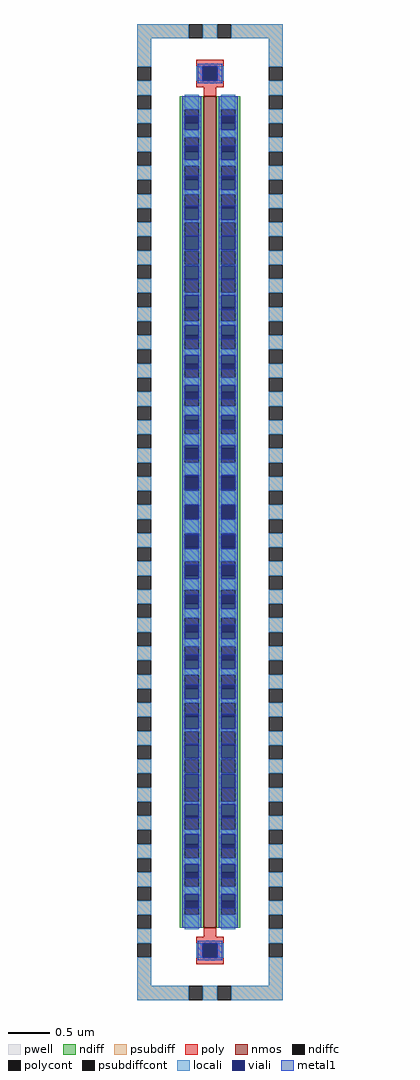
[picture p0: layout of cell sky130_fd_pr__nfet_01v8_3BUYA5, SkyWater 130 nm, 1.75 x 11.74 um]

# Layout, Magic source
magic
tech sky130A
magscale 1 2
<< pwell >>
rect -175 1140 175 1174
rect -175 -1140 -141 1140
rect 141 -1140 175 1140
rect -175 -1174 175 -1140
<< nmos >>
rect -15 -1000 15 1000
<< ndiff >>
rect -73 969 -15 1000
rect -73 935 -61 969
rect -27 935 -15 969
rect -73 901 -15 935
rect -73 867 -61 901
rect -27 867 -15 901
rect -73 833 -15 867
rect -73 799 -61 833
rect -27 799 -15 833
rect -73 765 -15 799
rect -73 731 -61 765
rect -27 731 -15 765
rect -73 697 -15 731
rect -73 663 -61 697
rect -27 663 -15 697
rect -73 629 -15 663
rect -73 595 -61 629
rect -27 595 -15 629
rect -73 561 -15 595
rect -73 527 -61 561
rect -27 527 -15 561
rect -73 493 -15 527
rect -73 459 -61 493
rect -27 459 -15 493
rect -73 425 -15 459
rect -73 391 -61 425
rect -27 391 -15 425
rect -73 357 -15 391
rect -73 323 -61 357
rect -27 323 -15 357
rect -73 289 -15 323
rect -73 255 -61 289
rect -27 255 -15 289
rect -73 221 -15 255
rect -73 187 -61 221
rect -27 187 -15 221
rect -73 153 -15 187
rect -73 119 -61 153
rect -27 119 -15 153
rect -73 85 -15 119
rect -73 51 -61 85
rect -27 51 -15 85
rect -73 17 -15 51
rect -73 -17 -61 17
rect -27 -17 -15 17
rect -73 -51 -15 -17
rect -73 -85 -61 -51
rect -27 -85 -15 -51
rect -73 -119 -15 -85
rect -73 -153 -61 -119
rect -27 -153 -15 -119
rect -73 -187 -15 -153
rect -73 -221 -61 -187
rect -27 -221 -15 -187
rect -73 -255 -15 -221
rect -73 -289 -61 -255
rect -27 -289 -15 -255
rect -73 -323 -15 -289
rect -73 -357 -61 -323
rect -27 -357 -15 -323
rect -73 -391 -15 -357
rect -73 -425 -61 -391
rect -27 -425 -15 -391
rect -73 -459 -15 -425
rect -73 -493 -61 -459
rect -27 -493 -15 -459
rect -73 -527 -15 -493
rect -73 -561 -61 -527
rect -27 -561 -15 -527
rect -73 -595 -15 -561
rect -73 -629 -61 -595
rect -27 -629 -15 -595
rect -73 -663 -15 -629
rect -73 -697 -61 -663
rect -27 -697 -15 -663
rect -73 -731 -15 -697
rect -73 -765 -61 -731
rect -27 -765 -15 -731
rect -73 -799 -15 -765
rect -73 -833 -61 -799
rect -27 -833 -15 -799
rect -73 -867 -15 -833
rect -73 -901 -61 -867
rect -27 -901 -15 -867
rect -73 -935 -15 -901
rect -73 -969 -61 -935
rect -27 -969 -15 -935
rect -73 -1000 -15 -969
rect 15 969 73 1000
rect 15 935 27 969
rect 61 935 73 969
rect 15 901 73 935
rect 15 867 27 901
rect 61 867 73 901
rect 15 833 73 867
rect 15 799 27 833
rect 61 799 73 833
rect 15 765 73 799
rect 15 731 27 765
rect 61 731 73 765
rect 15 697 73 731
rect 15 663 27 697
rect 61 663 73 697
rect 15 629 73 663
rect 15 595 27 629
rect 61 595 73 629
rect 15 561 73 595
rect 15 527 27 561
rect 61 527 73 561
rect 15 493 73 527
rect 15 459 27 493
rect 61 459 73 493
rect 15 425 73 459
rect 15 391 27 425
rect 61 391 73 425
rect 15 357 73 391
rect 15 323 27 357
rect 61 323 73 357
rect 15 289 73 323
rect 15 255 27 289
rect 61 255 73 289
rect 15 221 73 255
rect 15 187 27 221
rect 61 187 73 221
rect 15 153 73 187
rect 15 119 27 153
rect 61 119 73 153
rect 15 85 73 119
rect 15 51 27 85
rect 61 51 73 85
rect 15 17 73 51
rect 15 -17 27 17
rect 61 -17 73 17
rect 15 -51 73 -17
rect 15 -85 27 -51
rect 61 -85 73 -51
rect 15 -119 73 -85
rect 15 -153 27 -119
rect 61 -153 73 -119
rect 15 -187 73 -153
rect 15 -221 27 -187
rect 61 -221 73 -187
rect 15 -255 73 -221
rect 15 -289 27 -255
rect 61 -289 73 -255
rect 15 -323 73 -289
rect 15 -357 27 -323
rect 61 -357 73 -323
rect 15 -391 73 -357
rect 15 -425 27 -391
rect 61 -425 73 -391
rect 15 -459 73 -425
rect 15 -493 27 -459
rect 61 -493 73 -459
rect 15 -527 73 -493
rect 15 -561 27 -527
rect 61 -561 73 -527
rect 15 -595 73 -561
rect 15 -629 27 -595
rect 61 -629 73 -595
rect 15 -663 73 -629
rect 15 -697 27 -663
rect 61 -697 73 -663
rect 15 -731 73 -697
rect 15 -765 27 -731
rect 61 -765 73 -731
rect 15 -799 73 -765
rect 15 -833 27 -799
rect 61 -833 73 -799
rect 15 -867 73 -833
rect 15 -901 27 -867
rect 61 -901 73 -867
rect 15 -935 73 -901
rect 15 -969 27 -935
rect 61 -969 73 -935
rect 15 -1000 73 -969
<< ndiffc >>
rect -61 935 -27 969
rect -61 867 -27 901
rect -61 799 -27 833
rect -61 731 -27 765
rect -61 663 -27 697
rect -61 595 -27 629
rect -61 527 -27 561
rect -61 459 -27 493
rect -61 391 -27 425
rect -61 323 -27 357
rect -61 255 -27 289
rect -61 187 -27 221
rect -61 119 -27 153
rect -61 51 -27 85
rect -61 -17 -27 17
rect -61 -85 -27 -51
rect -61 -153 -27 -119
rect -61 -221 -27 -187
rect -61 -289 -27 -255
rect -61 -357 -27 -323
rect -61 -425 -27 -391
rect -61 -493 -27 -459
rect -61 -561 -27 -527
rect -61 -629 -27 -595
rect -61 -697 -27 -663
rect -61 -765 -27 -731
rect -61 -833 -27 -799
rect -61 -901 -27 -867
rect -61 -969 -27 -935
rect 27 935 61 969
rect 27 867 61 901
rect 27 799 61 833
rect 27 731 61 765
rect 27 663 61 697
rect 27 595 61 629
rect 27 527 61 561
rect 27 459 61 493
rect 27 391 61 425
rect 27 323 61 357
rect 27 255 61 289
rect 27 187 61 221
rect 27 119 61 153
rect 27 51 61 85
rect 27 -17 61 17
rect 27 -85 61 -51
rect 27 -153 61 -119
rect 27 -221 61 -187
rect 27 -289 61 -255
rect 27 -357 61 -323
rect 27 -425 61 -391
rect 27 -493 61 -459
rect 27 -561 61 -527
rect 27 -629 61 -595
rect 27 -697 61 -663
rect 27 -765 61 -731
rect 27 -833 61 -799
rect 27 -901 61 -867
rect 27 -969 61 -935
<< psubdiff >>
rect -175 1140 -51 1174
rect -17 1140 17 1174
rect 51 1140 175 1174
rect -175 1071 -141 1140
rect -175 1003 -141 1037
rect 141 1071 175 1140
rect 141 1003 175 1037
rect -175 935 -141 969
rect -175 867 -141 901
rect -175 799 -141 833
rect -175 731 -141 765
rect -175 663 -141 697
rect -175 595 -141 629
rect -175 527 -141 561
rect -175 459 -141 493
rect -175 391 -141 425
rect -175 323 -141 357
rect -175 255 -141 289
rect -175 187 -141 221
rect -175 119 -141 153
rect -175 51 -141 85
rect -175 -17 -141 17
rect -175 -85 -141 -51
rect -175 -153 -141 -119
rect -175 -221 -141 -187
rect -175 -289 -141 -255
rect -175 -357 -141 -323
rect -175 -425 -141 -391
rect -175 -493 -141 -459
rect -175 -561 -141 -527
rect -175 -629 -141 -595
rect -175 -697 -141 -663
rect -175 -765 -141 -731
rect -175 -833 -141 -799
rect -175 -901 -141 -867
rect -175 -969 -141 -935
rect 141 935 175 969
rect 141 867 175 901
rect 141 799 175 833
rect 141 731 175 765
rect 141 663 175 697
rect 141 595 175 629
rect 141 527 175 561
rect 141 459 175 493
rect 141 391 175 425
rect 141 323 175 357
rect 141 255 175 289
rect 141 187 175 221
rect 141 119 175 153
rect 141 51 175 85
rect 141 -17 175 17
rect 141 -85 175 -51
rect 141 -153 175 -119
rect 141 -221 175 -187
rect 141 -289 175 -255
rect 141 -357 175 -323
rect 141 -425 175 -391
rect 141 -493 175 -459
rect 141 -561 175 -527
rect 141 -629 175 -595
rect 141 -697 175 -663
rect 141 -765 175 -731
rect 141 -833 175 -799
rect 141 -901 175 -867
rect 141 -969 175 -935
rect -175 -1037 -141 -1003
rect -175 -1140 -141 -1071
rect 141 -1037 175 -1003
rect 141 -1140 175 -1071
rect -175 -1174 -51 -1140
rect -17 -1174 17 -1140
rect 51 -1174 175 -1140
<< psubdiffcont >>
rect -51 1140 -17 1174
rect 17 1140 51 1174
rect -175 1037 -141 1071
rect 141 1037 175 1071
rect -175 969 -141 1003
rect -175 901 -141 935
rect -175 833 -141 867
rect -175 765 -141 799
rect -175 697 -141 731
rect -175 629 -141 663
rect -175 561 -141 595
rect -175 493 -141 527
rect -175 425 -141 459
rect -175 357 -141 391
rect -175 289 -141 323
rect -175 221 -141 255
rect -175 153 -141 187
rect -175 85 -141 119
rect -175 17 -141 51
rect -175 -51 -141 -17
rect -175 -119 -141 -85
rect -175 -187 -141 -153
rect -175 -255 -141 -221
rect -175 -323 -141 -289
rect -175 -391 -141 -357
rect -175 -459 -141 -425
rect -175 -527 -141 -493
rect -175 -595 -141 -561
rect -175 -663 -141 -629
rect -175 -731 -141 -697
rect -175 -799 -141 -765
rect -175 -867 -141 -833
rect -175 -935 -141 -901
rect -175 -1003 -141 -969
rect 141 969 175 1003
rect 141 901 175 935
rect 141 833 175 867
rect 141 765 175 799
rect 141 697 175 731
rect 141 629 175 663
rect 141 561 175 595
rect 141 493 175 527
rect 141 425 175 459
rect 141 357 175 391
rect 141 289 175 323
rect 141 221 175 255
rect 141 153 175 187
rect 141 85 175 119
rect 141 17 175 51
rect 141 -51 175 -17
rect 141 -119 175 -85
rect 141 -187 175 -153
rect 141 -255 175 -221
rect 141 -323 175 -289
rect 141 -391 175 -357
rect 141 -459 175 -425
rect 141 -527 175 -493
rect 141 -595 175 -561
rect 141 -663 175 -629
rect 141 -731 175 -697
rect 141 -799 175 -765
rect 141 -867 175 -833
rect 141 -935 175 -901
rect 141 -1003 175 -969
rect -175 -1071 -141 -1037
rect 141 -1071 175 -1037
rect -51 -1174 -17 -1140
rect 17 -1174 51 -1140
<< poly >>
rect -33 1072 33 1088
rect -33 1038 -17 1072
rect 17 1038 33 1072
rect -33 1022 33 1038
rect -15 1000 15 1022
rect -15 -1022 15 -1000
rect -33 -1038 33 -1022
rect -33 -1072 -17 -1038
rect 17 -1072 33 -1038
rect -33 -1088 33 -1072
<< polycont >>
rect -17 1038 17 1072
rect -17 -1072 17 -1038
<< locali >>
rect -175 1140 -51 1174
rect -17 1140 17 1174
rect 51 1140 175 1174
rect -175 1071 -141 1140
rect -33 1038 -17 1072
rect 17 1038 33 1072
rect 141 1071 175 1140
rect -175 1003 -141 1037
rect -175 935 -141 969
rect -175 867 -141 901
rect -175 799 -141 833
rect -175 731 -141 765
rect -175 663 -141 697
rect -175 595 -141 629
rect -175 527 -141 561
rect -175 459 -141 493
rect -175 391 -141 425
rect -175 323 -141 357
rect -175 255 -141 289
rect -175 187 -141 221
rect -175 119 -141 153
rect -175 51 -141 85
rect -175 -17 -141 17
rect -175 -85 -141 -51
rect -175 -153 -141 -119
rect -175 -221 -141 -187
rect -175 -289 -141 -255
rect -175 -357 -141 -323
rect -175 -425 -141 -391
rect -175 -493 -141 -459
rect -175 -561 -141 -527
rect -175 -629 -141 -595
rect -175 -697 -141 -663
rect -175 -765 -141 -731
rect -175 -833 -141 -799
rect -175 -901 -141 -867
rect -175 -969 -141 -935
rect -175 -1037 -141 -1003
rect -61 969 -27 1004
rect -61 901 -27 919
rect -61 833 -27 847
rect -61 765 -27 775
rect -61 697 -27 703
rect -61 629 -27 631
rect -61 593 -27 595
rect -61 521 -27 527
rect -61 449 -27 459
rect -61 377 -27 391
rect -61 305 -27 323
rect -61 233 -27 255
rect -61 161 -27 187
rect -61 89 -27 119
rect -61 17 -27 51
rect -61 -51 -27 -17
rect -61 -119 -27 -89
rect -61 -187 -27 -161
rect -61 -255 -27 -233
rect -61 -323 -27 -305
rect -61 -391 -27 -377
rect -61 -459 -27 -449
rect -61 -527 -27 -521
rect -61 -595 -27 -593
rect -61 -631 -27 -629
rect -61 -703 -27 -697
rect -61 -775 -27 -765
rect -61 -847 -27 -833
rect -61 -919 -27 -901
rect -61 -1004 -27 -969
rect 27 969 61 1004
rect 27 901 61 919
rect 27 833 61 847
rect 27 765 61 775
rect 27 697 61 703
rect 27 629 61 631
rect 27 593 61 595
rect 27 521 61 527
rect 27 449 61 459
rect 27 377 61 391
rect 27 305 61 323
rect 27 233 61 255
rect 27 161 61 187
rect 27 89 61 119
rect 27 17 61 51
rect 27 -51 61 -17
rect 27 -119 61 -89
rect 27 -187 61 -161
rect 27 -255 61 -233
rect 27 -323 61 -305
rect 27 -391 61 -377
rect 27 -459 61 -449
rect 27 -527 61 -521
rect 27 -595 61 -593
rect 27 -631 61 -629
rect 27 -703 61 -697
rect 27 -775 61 -765
rect 27 -847 61 -833
rect 27 -919 61 -901
rect 27 -1004 61 -969
rect 141 1003 175 1037
rect 141 935 175 969
rect 141 867 175 901
rect 141 799 175 833
rect 141 731 175 765
rect 141 663 175 697
rect 141 595 175 629
rect 141 527 175 561
rect 141 459 175 493
rect 141 391 175 425
rect 141 323 175 357
rect 141 255 175 289
rect 141 187 175 221
rect 141 119 175 153
rect 141 51 175 85
rect 141 -17 175 17
rect 141 -85 175 -51
rect 141 -153 175 -119
rect 141 -221 175 -187
rect 141 -289 175 -255
rect 141 -357 175 -323
rect 141 -425 175 -391
rect 141 -493 175 -459
rect 141 -561 175 -527
rect 141 -629 175 -595
rect 141 -697 175 -663
rect 141 -765 175 -731
rect 141 -833 175 -799
rect 141 -901 175 -867
rect 141 -969 175 -935
rect 141 -1037 175 -1003
rect -175 -1140 -141 -1071
rect -33 -1072 -17 -1038
rect 17 -1072 33 -1038
rect 141 -1140 175 -1071
rect -175 -1174 -51 -1140
rect -17 -1174 17 -1140
rect 51 -1174 175 -1140
<< viali >>
rect -17 1038 17 1072
rect -61 935 -27 953
rect -61 919 -27 935
rect -61 867 -27 881
rect -61 847 -27 867
rect -61 799 -27 809
rect -61 775 -27 799
rect -61 731 -27 737
rect -61 703 -27 731
rect -61 663 -27 665
rect -61 631 -27 663
rect -61 561 -27 593
rect -61 559 -27 561
rect -61 493 -27 521
rect -61 487 -27 493
rect -61 425 -27 449
rect -61 415 -27 425
rect -61 357 -27 377
rect -61 343 -27 357
rect -61 289 -27 305
rect -61 271 -27 289
rect -61 221 -27 233
rect -61 199 -27 221
rect -61 153 -27 161
rect -61 127 -27 153
rect -61 85 -27 89
rect -61 55 -27 85
rect -61 -17 -27 17
rect -61 -85 -27 -55
rect -61 -89 -27 -85
rect -61 -153 -27 -127
rect -61 -161 -27 -153
rect -61 -221 -27 -199
rect -61 -233 -27 -221
rect -61 -289 -27 -271
rect -61 -305 -27 -289
rect -61 -357 -27 -343
rect -61 -377 -27 -357
rect -61 -425 -27 -415
rect -61 -449 -27 -425
rect -61 -493 -27 -487
rect -61 -521 -27 -493
rect -61 -561 -27 -559
rect -61 -593 -27 -561
rect -61 -663 -27 -631
rect -61 -665 -27 -663
rect -61 -731 -27 -703
rect -61 -737 -27 -731
rect -61 -799 -27 -775
rect -61 -809 -27 -799
rect -61 -867 -27 -847
rect -61 -881 -27 -867
rect -61 -935 -27 -919
rect -61 -953 -27 -935
rect 27 935 61 953
rect 27 919 61 935
rect 27 867 61 881
rect 27 847 61 867
rect 27 799 61 809
rect 27 775 61 799
rect 27 731 61 737
rect 27 703 61 731
rect 27 663 61 665
rect 27 631 61 663
rect 27 561 61 593
rect 27 559 61 561
rect 27 493 61 521
rect 27 487 61 493
rect 27 425 61 449
rect 27 415 61 425
rect 27 357 61 377
rect 27 343 61 357
rect 27 289 61 305
rect 27 271 61 289
rect 27 221 61 233
rect 27 199 61 221
rect 27 153 61 161
rect 27 127 61 153
rect 27 85 61 89
rect 27 55 61 85
rect 27 -17 61 17
rect 27 -85 61 -55
rect 27 -89 61 -85
rect 27 -153 61 -127
rect 27 -161 61 -153
rect 27 -221 61 -199
rect 27 -233 61 -221
rect 27 -289 61 -271
rect 27 -305 61 -289
rect 27 -357 61 -343
rect 27 -377 61 -357
rect 27 -425 61 -415
rect 27 -449 61 -425
rect 27 -493 61 -487
rect 27 -521 61 -493
rect 27 -561 61 -559
rect 27 -593 61 -561
rect 27 -663 61 -631
rect 27 -665 61 -663
rect 27 -731 61 -703
rect 27 -737 61 -731
rect 27 -799 61 -775
rect 27 -809 61 -799
rect 27 -867 61 -847
rect 27 -881 61 -867
rect 27 -935 61 -919
rect 27 -953 61 -935
rect -17 -1072 17 -1038
<< metal1 >>
rect -29 1072 29 1078
rect -29 1038 -17 1072
rect 17 1038 29 1072
rect -29 1032 29 1038
rect -67 953 -21 1000
rect -67 919 -61 953
rect -27 919 -21 953
rect -67 881 -21 919
rect -67 847 -61 881
rect -27 847 -21 881
rect -67 809 -21 847
rect -67 775 -61 809
rect -27 775 -21 809
rect -67 737 -21 775
rect -67 703 -61 737
rect -27 703 -21 737
rect -67 665 -21 703
rect -67 631 -61 665
rect -27 631 -21 665
rect -67 593 -21 631
rect -67 559 -61 593
rect -27 559 -21 593
rect -67 521 -21 559
rect -67 487 -61 521
rect -27 487 -21 521
rect -67 449 -21 487
rect -67 415 -61 449
rect -27 415 -21 449
rect -67 377 -21 415
rect -67 343 -61 377
rect -27 343 -21 377
rect -67 305 -21 343
rect -67 271 -61 305
rect -27 271 -21 305
rect -67 233 -21 271
rect -67 199 -61 233
rect -27 199 -21 233
rect -67 161 -21 199
rect -67 127 -61 161
rect -27 127 -21 161
rect -67 89 -21 127
rect -67 55 -61 89
rect -27 55 -21 89
rect -67 17 -21 55
rect -67 -17 -61 17
rect -27 -17 -21 17
rect -67 -55 -21 -17
rect -67 -89 -61 -55
rect -27 -89 -21 -55
rect -67 -127 -21 -89
rect -67 -161 -61 -127
rect -27 -161 -21 -127
rect -67 -199 -21 -161
rect -67 -233 -61 -199
rect -27 -233 -21 -199
rect -67 -271 -21 -233
rect -67 -305 -61 -271
rect -27 -305 -21 -271
rect -67 -343 -21 -305
rect -67 -377 -61 -343
rect -27 -377 -21 -343
rect -67 -415 -21 -377
rect -67 -449 -61 -415
rect -27 -449 -21 -415
rect -67 -487 -21 -449
rect -67 -521 -61 -487
rect -27 -521 -21 -487
rect -67 -559 -21 -521
rect -67 -593 -61 -559
rect -27 -593 -21 -559
rect -67 -631 -21 -593
rect -67 -665 -61 -631
rect -27 -665 -21 -631
rect -67 -703 -21 -665
rect -67 -737 -61 -703
rect -27 -737 -21 -703
rect -67 -775 -21 -737
rect -67 -809 -61 -775
rect -27 -809 -21 -775
rect -67 -847 -21 -809
rect -67 -881 -61 -847
rect -27 -881 -21 -847
rect -67 -919 -21 -881
rect -67 -953 -61 -919
rect -27 -953 -21 -919
rect -67 -1000 -21 -953
rect 21 953 67 1000
rect 21 919 27 953
rect 61 919 67 953
rect 21 881 67 919
rect 21 847 27 881
rect 61 847 67 881
rect 21 809 67 847
rect 21 775 27 809
rect 61 775 67 809
rect 21 737 67 775
rect 21 703 27 737
rect 61 703 67 737
rect 21 665 67 703
rect 21 631 27 665
rect 61 631 67 665
rect 21 593 67 631
rect 21 559 27 593
rect 61 559 67 593
rect 21 521 67 559
rect 21 487 27 521
rect 61 487 67 521
rect 21 449 67 487
rect 21 415 27 449
rect 61 415 67 449
rect 21 377 67 415
rect 21 343 27 377
rect 61 343 67 377
rect 21 305 67 343
rect 21 271 27 305
rect 61 271 67 305
rect 21 233 67 271
rect 21 199 27 233
rect 61 199 67 233
rect 21 161 67 199
rect 21 127 27 161
rect 61 127 67 161
rect 21 89 67 127
rect 21 55 27 89
rect 61 55 67 89
rect 21 17 67 55
rect 21 -17 27 17
rect 61 -17 67 17
rect 21 -55 67 -17
rect 21 -89 27 -55
rect 61 -89 67 -55
rect 21 -127 67 -89
rect 21 -161 27 -127
rect 61 -161 67 -127
rect 21 -199 67 -161
rect 21 -233 27 -199
rect 61 -233 67 -199
rect 21 -271 67 -233
rect 21 -305 27 -271
rect 61 -305 67 -271
rect 21 -343 67 -305
rect 21 -377 27 -343
rect 61 -377 67 -343
rect 21 -415 67 -377
rect 21 -449 27 -415
rect 61 -449 67 -415
rect 21 -487 67 -449
rect 21 -521 27 -487
rect 61 -521 67 -487
rect 21 -559 67 -521
rect 21 -593 27 -559
rect 61 -593 67 -559
rect 21 -631 67 -593
rect 21 -665 27 -631
rect 61 -665 67 -631
rect 21 -703 67 -665
rect 21 -737 27 -703
rect 61 -737 67 -703
rect 21 -775 67 -737
rect 21 -809 27 -775
rect 61 -809 67 -775
rect 21 -847 67 -809
rect 21 -881 27 -847
rect 61 -881 67 -847
rect 21 -919 67 -881
rect 21 -953 27 -919
rect 61 -953 67 -919
rect 21 -1000 67 -953
rect -29 -1038 29 -1032
rect -29 -1072 -17 -1038
rect 17 -1072 29 -1038
rect -29 -1078 29 -1072
<< properties >>
string FIXED_BBOX -158 -1157 158 1157
<< end >>
